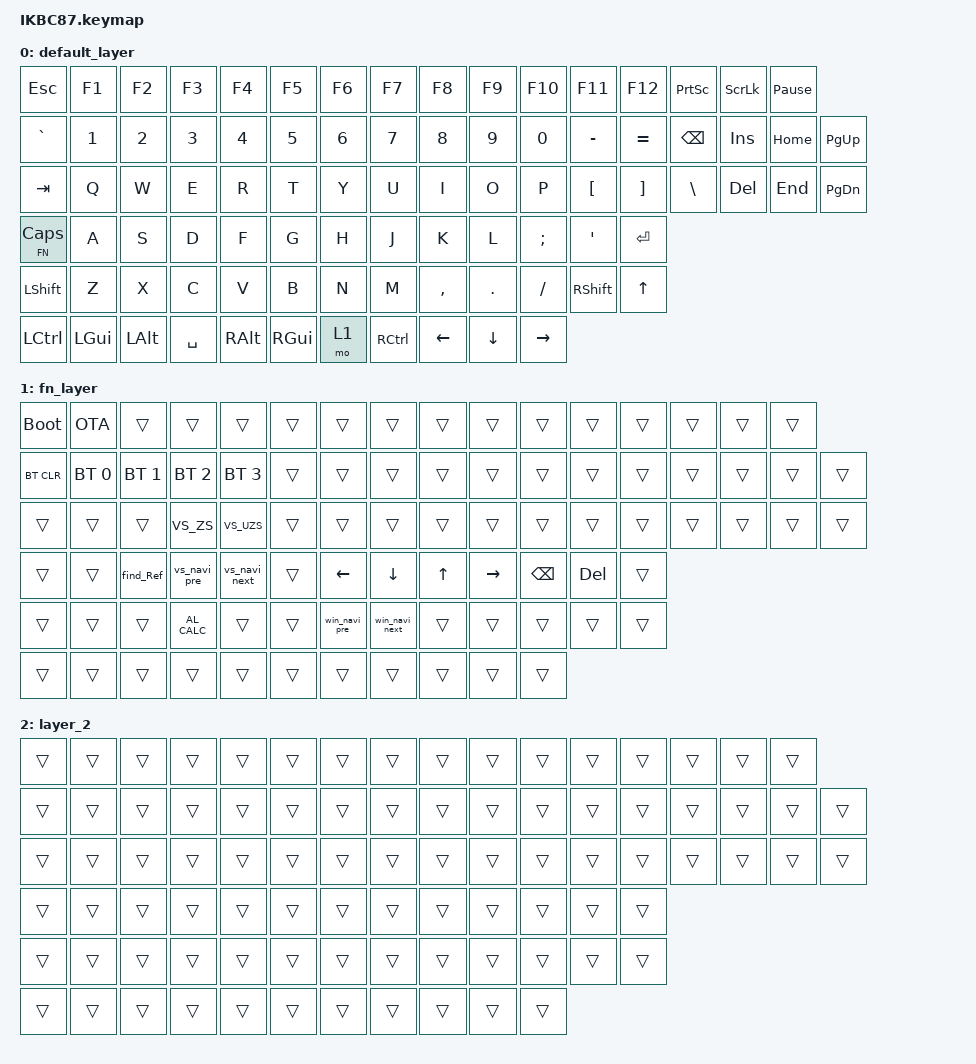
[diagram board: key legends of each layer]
/*
 * Copyright (c) 2021 Nick Winans
 *
 * SPDX-License-Identifier: MIT
 */

#include <behaviors.dtsi>
#include <dt-bindings/zmk/bt.h>
#include <dt-bindings/zmk/keys.h>

#define DEF 0
#define FN 1
#define RSE 2
#define ADJ 3

/ {
    macros {
        win_navi_pre: win_navi_pre {
            compatible = "zmk,behavior-macro";
            #binding-cells = <0>;
            bindings =
                <&macro_press>,
                <&kp LCTRL>,
                <&macro_tap>,
                <&kp LEFT>,
                <&macro_release>,
                <&kp LCTRL>;

            label = "WIN_NAVI_PRE";
        };

        vs_navi_pre: VS_PRE {
            compatible = "zmk,behavior-macro";
            #binding-cells = <0>;
            bindings =
                <&macro_press>,
                <&kp LCTRL>,
                <&macro_tap>,
                <&kp MINUS>,
                <&macro_release>,
                <&kp LCTRL>;

            label = "VS_PRE";
        };

        vs_navi_next: navi_next {
            compatible = "zmk,behavior-macro";
            #binding-cells = <0>;
            bindings =
                <&macro_press>,
                <&kp LCTRL>,
                <&macro_press>,
                <&kp LEFT_SHIFT>,
                <&macro_tap>,
                <&kp MINUS>,
                <&macro_release>,
                <&kp LCTRL>,
                <&macro_release>,
                <&kp LEFT_SHIFT>;

            label = "NAVI_NEXT";
        };

        win_navi_next: win_navi_next {
            compatible = "zmk,behavior-macro";
            #binding-cells = <0>;
            bindings =
                <&macro_press>,
                <&kp LCTRL>,
                <&macro_tap>,
                <&kp RIGHT>,
                <&macro_release>,
                <&kp LCTRL>;

            label = "WIN_NAVI_NEXT";
        };

        VS_ZS: VS_ZS {
            compatible = "zmk,behavior-macro";
            #binding-cells = <0>;
            bindings =
                <&macro_press>,
                <&kp LCTRL>,
                <&macro_tap>,
                <&kp K>,
                <&macro_tap>,
                <&kp C>,
                <&macro_release>,
                <&kp LCTRL>;

            label = "VS_ZS";
        };

        VS_UZS: VS_UZS {
            compatible = "zmk,behavior-macro";
            #binding-cells = <0>;
            bindings =
                <&macro_press>,
                <&kp LCTRL>,
                <&macro_tap>,
                <&kp K>,
                <&macro_tap>,
                <&kp U>,
                <&macro_release>,
                <&kp LCTRL>;

            label = "VS_UZS";
        };

        find_Ref: find_Ref {
            compatible = "zmk,behavior-macro";
            #binding-cells = <0>;
            bindings =
                <&macro_press>,
                <&kp LEFT_ALT>,
                <&macro_press>,
                <&kp LEFT_SHIFT>,
                <&macro_tap>,
                <&kp F>,
                <&macro_release>,
                <&kp LEFT_ALT>,
                <&macro_release>,
                <&kp LEFT_SHIFT>;

            label = "FIND_REF";
        };
    };

    combos {
        compatible = "zmk,combos";

        enter {
            bindings = <&kp ENTER>;
            key-positions = <53 54>;
        };
    };

    keymap {
        compatible = "zmk,keymap";

        default_layer {
            // ------------------------------------------------------------------------------------------
            // | ESC |  1  |  2  |  3  |  4  |  5  |  6  |  7  |  8  |  9  |  0  |  -  |  =  |   BSPC   |
            // | TAB  |  Q  |  W  |  E  |  R  |  T  |  Y  |  U  |  I  |  O  |  P  |  [  |  ]  |   "|"   |
            // | CAPS  |  A  |  S  |  D  |  F  |  G  |  H  |  J  |  K  |  L  |  ;  |  '  |     ENTER    |
            // |  SHIFT  |  Z  |  X  |  C  |  V  |  B  |  N  |  M  |  ,  |  .  |  /  |      SHIFT       |
            // |  CTL  |  WIN  |  ALT  |            SPACE              |  ALT  |  WIN  |  MO(1) |  CTL  |
            // ------------------------------------------------------------------------------------------

            bindings = <
&kp ESC          &kp F1    &kp F2    &kp F3     &kp F4    &kp F5    &kp F6  &kp F7     &kp F8          &kp F9          &kp F10          &kp F11    &kp F12       &kp PSCRN  &kp SCROLLLOCK  &kp PAUSE_BREAK
&kp GRAVE        &kp N1    &kp N2    &kp N3     &kp N4    &kp N5    &kp N6  &kp N7     &kp N8          &kp N9          &kp N0           &kp MINUS  &kp EQUAL     &kp BSPC   &kp INSERT      &kp HOME         &kp PAGE_UP
&kp TAB          &kp Q     &kp W     &kp E      &kp R     &kp T     &kp Y   &kp U      &kp I           &kp O           &kp P            &kp LBKT   &kp RBKT      &kp BSLH   &kp DEL         &kp END          &kp PAGE_DOWN
&lt FN CAPSLOCK  &kp A     &kp S     &kp D      &kp F     &kp G     &kp H   &kp J      &kp K           &kp L           &kp SEMI         &kp SQT    &kp RET
&kp LSHFT        &kp Z     &kp X     &kp C      &kp V     &kp B     &kp N   &kp M      &kp COMMA       &kp DOT         &kp FSLH         &kp RSHFT  &kp UP_ARROW
&kp LCTRL        &kp LGUI  &kp LALT  &kp SPACE  &kp RALT  &kp RGUI  &mo 1   &kp RCTRL  &kp LEFT_ARROW  &kp DOWN_ARROW  &kp RIGHT_ARROW
            >;
        };

        fn_layer {
            bindings = <
&bootloader  &OTA          &trans        &trans         &trans         &trans  &trans          &trans          &trans        &trans           &trans         &trans   &trans  &trans  &trans  &trans
&bt BT_CLR   &bt BT_SEL 0  &bt BT_SEL 1  &bt BT_SEL 2   &bt BT_SEL 3   &trans  &trans          &trans          &trans        &trans           &trans         &trans   &trans  &trans  &trans  &trans  &trans
&trans       &trans        &trans        &VS_ZS         &VS_UZS        &trans  &trans          &trans          &trans        &trans           &trans         &trans   &trans  &trans  &trans  &trans  &trans
&trans       &trans        &find_Ref     &vs_navi_pre   &vs_navi_next  &trans  &kp LEFT_ARROW  &kp DOWN_ARROW  &kp UP_ARROW  &kp RIGHT_ARROW  &kp BACKSPACE  &kp DEL  &trans
&trans       &trans        &trans        &kp C_AL_CALC  &trans         &trans  &win_navi_pre   &win_navi_next  &trans        &trans           &trans         &trans   &trans
&trans       &trans        &trans        &trans         &trans         &trans  &trans          &trans          &trans        &trans           &trans
            >;
        };

        layer_2 {
            bindings = <
&trans  &trans  &trans  &trans  &trans  &trans  &trans  &trans  &trans  &trans  &trans  &trans  &trans  &trans  &trans  &trans
&trans  &trans  &trans  &trans  &trans  &trans  &trans  &trans  &trans  &trans  &trans  &trans  &trans  &trans  &trans  &trans  &trans
&trans  &trans  &trans  &trans  &trans  &trans  &trans  &trans  &trans  &trans  &trans  &trans  &trans  &trans  &trans  &trans  &trans
&trans  &trans  &trans  &trans  &trans  &trans  &trans  &trans  &trans  &trans  &trans  &trans  &trans
&trans  &trans  &trans  &trans  &trans  &trans  &trans  &trans  &trans  &trans  &trans  &trans  &trans
&trans  &trans  &trans  &trans  &trans  &trans  &trans  &trans  &trans  &trans  &trans
            >;
        };
    };
};
